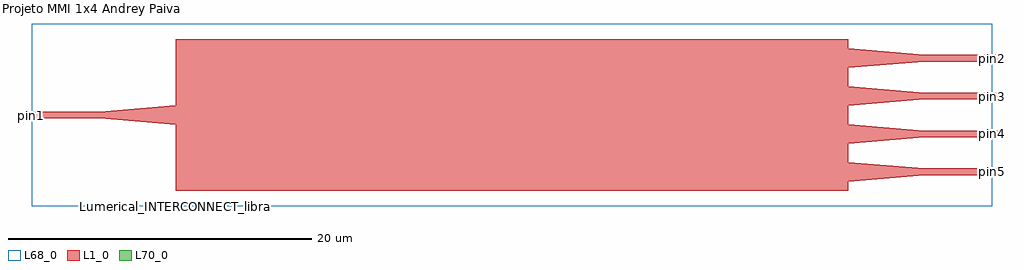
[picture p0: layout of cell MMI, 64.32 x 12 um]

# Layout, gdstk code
import gdstk
lib = gdstk.Library(unit=1e-6, precision=1e-10)
def R(c, l, rs):  # rectangles x0, y0, x1, y1
    for r in rs: c.add(gdstk.rectangle(r[:2], r[2:], *l))
def A(c, l, x, y, w, h, nx, ny, dx, dy):  # array of equal rectangles
    R(c, l, [(x+i*dx, y+j*dy, x+i*dx+w, y+j*dy+h) for i in range(nx) for j in range(ny)])
def P(c, l, *ps):  # polygons
    for p in ps: c.add(gdstk.Polygon(p, *l))
L1_0 = (1, 0)
L68_0 = (68, 0)
L70_0 = (70, 0)

mmi = lib.new_cell('MMI')
A(mmi, L1_0, 49.3216, -3.975, 5, 0.45, 1, 4, 0, 2.5)
R(mmi, L1_0, [(0,-5,44.3216,5), (-10,-0.225,-5,0.225)])
P(mmi, L1_0, [(0,-0.635),(-5,-0.225),(-5,0.225),(0,0.635)],
  [(44.3216,3.115),(44.3216,4.385),(49.3216,3.975),(49.3216,3.525)],
  [(44.3216,0.615),(44.3216,1.885),(49.3216,1.475),(49.3216,1.025)],
  [(44.3216,-1.885),(44.3216,-0.615),(49.3216,-1.025),(49.3216,-1.475)],
  [(44.3216,-4.385),(44.3216,-3.115),(49.3216,-3.525),(49.3216,-3.975)])
R(mmi, L68_0, [(-9.5,-6,53.8126,6)])
mmi.add(gdstk.FlexPath([(-9.4,0),(-9.6,0)], 0.45, ends="flush", simple_path=True, layer=70, datatype=0))  # L70_0
mmi.add(gdstk.FlexPath([(53.7126,3.75),(53.9126,3.75)], 0.5, ends="flush", simple_path=True, layer=70, datatype=0))  # L70_0
mmi.add(gdstk.FlexPath([(53.7126,1.25),(53.9126,1.25)], 0.5, ends="flush", simple_path=True, layer=70, datatype=0))  # L70_0
mmi.add(gdstk.FlexPath([(53.7126,-3.75),(53.9126,-3.75)], 0.5, ends="flush", simple_path=True, layer=70, datatype=0))  # L70_0
mmi.add(gdstk.FlexPath([(53.7126,-1.25),(53.9126,-1.25)], 0.5, ends="flush", simple_path=True, layer=70, datatype=0))  # L70_0
mmi.add(gdstk.Label('Projeto MMI 1x4 Andrey Paiva 2022', (-9.5,7), layer=69, texttype=0))
mmi.add(gdstk.Label('pin1', (-9.5,0), layer=70, texttype=0))
mmi.add(gdstk.Label('pin2', (53.8126,3.75), layer=70, texttype=0))
mmi.add(gdstk.Label('pin3', (53.8126,1.25), layer=70, texttype=0))
mmi.add(gdstk.Label('pin4', (53.8126,-1.25), layer=70, texttype=0))
mmi.add(gdstk.Label('pin5', (53.8126,-3.75), layer=70, texttype=0))
mmi.add(gdstk.Label('Lumerical_INTERCONNECT_library=Custom/ebeam_user', (0,-6), layer=68, texttype=0))

lib.write_gds('MMI.gds')
